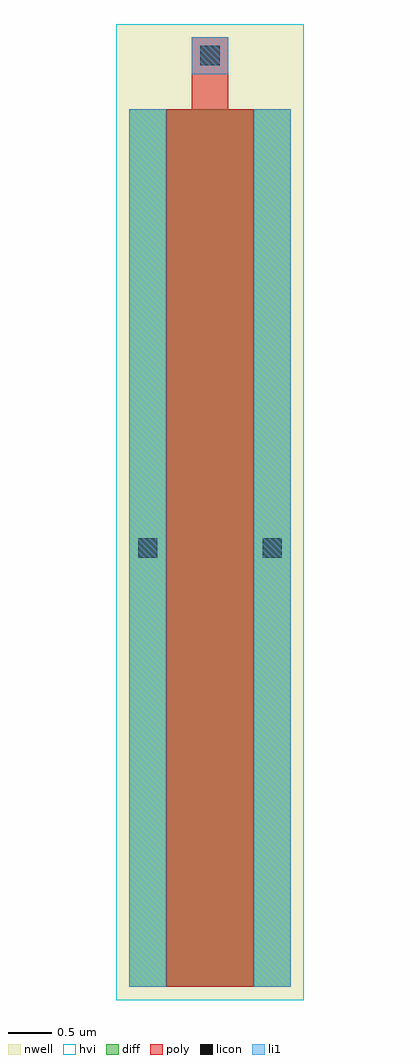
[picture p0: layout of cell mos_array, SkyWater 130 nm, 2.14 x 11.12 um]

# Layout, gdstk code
import gdstk
lib = gdstk.Library(unit=1e-6, precision=1e-09)
def R(c, l, rs):  # rectangles x0, y0, x1, y1
    for r in rs: c.add(gdstk.rectangle(r[:2], r[2:], *l))
nwell = (64, 20)
diff = (65, 20)
poly = (66, 20)
licon = (66, 44)
li1 = (67, 20)
hvi = (75, 20)

mos_array = lib.new_cell('mos_array')
R(mos_array, nwell, [(-0.15,-0.15,1.99,10.97)])
R(mos_array, diff, [(0,0,1.84,10)])
R(mos_array, poly, [(0.42,0,1.42,10), (0.71,10,1.13,10.82)])
R(mos_array, licon, [(0.1,4.89,0.32,5.11), (1.52,4.89,1.74,5.11), (0.81,10.5,1.03,10.72)])
R(mos_array, li1, [(0,0,0.42,10), (1.42,0,1.84,10), (0.71,10.4,1.13,10.82)])
R(mos_array, hvi, [(-0.15,-0.15,1.99,10.97)])

lib.write_gds('mos_array.gds')
